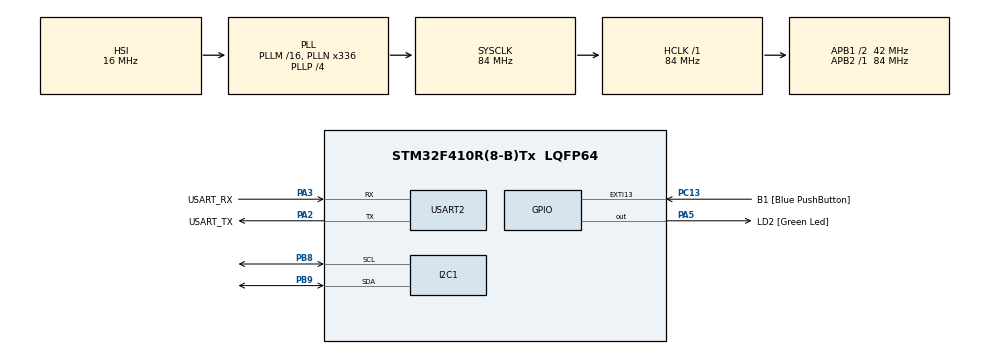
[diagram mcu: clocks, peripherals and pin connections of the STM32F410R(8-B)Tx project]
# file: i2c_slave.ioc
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I2C1.DualAddressMode=I2C_DUALADDRESS_DISABLE
I2C1.OwnAddress=0xA
Mcu.Family=STM32F4
Mcu.Name=STM32F410R(8-B)Tx
Mcu.Package=LQFP64
NVIC.I2C1_ER_IRQn=true\:0\:0\:false\:false\:true\:true\:true\:true
NVIC.I2C1_EV_IRQn=true\:0\:0\:false\:false\:true\:true\:true\:true
NVIC.PriorityGroup=NVIC_PRIORITYGROUP_0
PA13.GPIO_Label=TMS
PA13.Mode=Serial_Wire
PA13.Signal=SYS_JTMS-SWDIO
PA14.GPIO_Label=TCK
PA14.Mode=Serial_Wire
PA14.Signal=SYS_JTCK-SWCLK
PA2.GPIO_Label=USART_TX
PA2.Mode=Asynchronous
PA2.Signal=USART2_TX
PA3.GPIO_Label=USART_RX
PA3.Mode=Asynchronous
PA3.Signal=USART2_RX
PA5.GPIO_Label=LD2 [Green Led]
PA5.Signal=GPIO_Output
PB3.GPIO_Label=SWO
PB3.Signal=SYS_JTDO-SWO
PB8.GPIO_Pu=GPIO_PULLUP
PB8.Mode=I2C
PB8.Signal=I2C1_SCL
PB9.GPIO_Pu=GPIO_PULLUP
PB9.Mode=I2C
PB9.Signal=I2C1_SDA
PC13-ANTI_TAMP.GPIO_Label=B1 [Blue PushButton]
PC13-ANTI_TAMP.GPIO_ModeDefaultEXTI=GPIO_MODE_IT_FALLING
PC13-ANTI_TAMP.Signal=GPXTI13
PC14-OSC32_IN.Mode=LSE-External-Oscillator
PC14-OSC32_IN.Signal=RCC_OSC32_IN
PC15-OSC32_OUT.Mode=LSE-External-Oscillator
PC15-OSC32_OUT.Signal=RCC_OSC32_OUT
PH0\ -\ OSC_IN.Mode=HSE-External-Clock-Source
PH0\ -\ OSC_IN.Signal=RCC_OSC_IN
PH1\ -\ OSC_OUT.Mode=HSE-External-Clock-Source
PH1\ -\ OSC_OUT.Signal=RCC_OSC_OUT
ProjectManager.HeapSize=0x200
ProjectManager.StackSize=0x400
ProjectManager.TargetToolchain=CMake
RCC.48MHZClocksFreq_Value=84000000
RCC.AHBFreq_Value=84000000
RCC.APB1CLKDivider=RCC_HCLK_DIV2
RCC.APB1Freq_Value=42000000
RCC.APB1TimFreq_Value=84000000
RCC.APB2Freq_Value=84000000
RCC.APB2TimFreq_Value=84000000
RCC.CortexFreq_Value=84000000
RCC.FLatency-AdvancedSettings=FLASH_LATENCY_2
RCC.HCLKFreq_Value=84000000
RCC.HSE_VALUE=8000000
RCC.HSI_VALUE=16000000
RCC.PLLN=336
RCC.PLLP=RCC_PLLP_DIV4
RCC.SYSCLKFreq_VALUE=84000000
RCC.SYSCLKSource=RCC_SYSCLKSOURCE_PLLCLK
RCC.VCOOutputFreq_Value=336000000
USART2.VirtualMode=VM_ASYNC
board=NUCLEO-F410RB

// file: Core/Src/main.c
/* USER CODE BEGIN Header */
/**
  ******************************************************************************
  * @file           : main.c
  * @brief          : Main program body
  ******************************************************************************
  * @attention
  *
  * Copyright (c) 2024 STMicroelectronics.
  * All rights reserved.
  *
  * This software is licensed under terms that can be found in the LICENSE file
  * in the root directory of this software component.
  * If no LICENSE file comes with this software, it is provided AS-IS.
  *
  ******************************************************************************
  */
/* USER CODE END Header */
#include "main.h"

/* USER CODE BEGIN Includes */
#include <stdio.h>
#include <stdint.h>
#include <stdbool.h>
#include "i2c_slave.h"
/* USER CODE END Includes */

I2C_HandleTypeDef hi2c1;

UART_HandleTypeDef huart2;

/* USER CODE BEGIN PV */
uint8_t i2c_slave_buf; // DATA to receive
/* USER CODE END PV */

void SystemClock_Config(void);
static void MX_GPIO_Init(void);
static void MX_I2C1_Init(void);
static void MX_USART2_UART_Init(void);

/* USER CODE BEGIN 0 */
int _write (int fd __unused, char *ptr, int len)
{
	int i=0;
	for(;i<len;i++)
	{
    HAL_UART_Transmit(&huart2, (uint8_t*)&ptr[i], 1, HAL_MAX_DELAY);
		if(ptr[i] == '\n')
		{
      HAL_UART_Transmit(&huart2, (uint8_t*)"\r", 1, HAL_MAX_DELAY);
		}
	}
	return i;
}
/* USER CODE END 0 */

int main(void)
{

  /* MCU Configuration--------------------------------------------------------*/

  /* Reset of all peripherals, Initializes the Flash interface and the Systick. */
  HAL_Init();

  /* Configure the system clock */
  SystemClock_Config();

  /* Initialize all configured peripherals */
  MX_GPIO_Init();
  MX_I2C1_Init();
  MX_USART2_UART_Init();
  /* USER CODE BEGIN 2 */
  printf("this is i2c slave\n\r");
  if(HAL_OK != HAL_I2C_EnableListen_IT(&hi2c1))
  {
    printf("HAL_I2C_EnableListen_IT error\n\r");
    Error_Handler();
  }
  /* USER CODE END 2 */

  /* Infinite loop */
  while (1)
  {

  }
}

void SystemClock_Config(void)
{
  RCC_OscInitTypeDef RCC_OscInitStruct = {0};
  RCC_ClkInitTypeDef RCC_ClkInitStruct = {0};

  /** Configure the main internal regulator output voltage
  */
  __HAL_RCC_PWR_CLK_ENABLE();
  __HAL_PWR_VOLTAGESCALING_CONFIG(PWR_REGULATOR_VOLTAGE_SCALE1);

  /** Initializes the RCC Oscillators according to the specified parameters
  * in the RCC_OscInitTypeDef structure.
  */
  RCC_OscInitStruct.OscillatorType = RCC_OSCILLATORTYPE_HSI;
  RCC_OscInitStruct.HSIState = RCC_HSI_ON;
  RCC_OscInitStruct.HSICalibrationValue = RCC_HSICALIBRATION_DEFAULT;
  RCC_OscInitStruct.PLL.PLLState = RCC_PLL_ON;
  RCC_OscInitStruct.PLL.PLLSource = RCC_PLLSOURCE_HSI;
  RCC_OscInitStruct.PLL.PLLM = 16;
  RCC_OscInitStruct.PLL.PLLN = 336;
  RCC_OscInitStruct.PLL.PLLP = RCC_PLLP_DIV4;
  RCC_OscInitStruct.PLL.PLLQ = 4;
  RCC_OscInitStruct.PLL.PLLR = 2;
  if (HAL_RCC_OscConfig(&RCC_OscInitStruct) != HAL_OK)
  {
    Error_Handler();
  }

  /** Initializes the CPU, AHB and APB buses clocks
  */
  RCC_ClkInitStruct.ClockType = RCC_CLOCKTYPE_HCLK|RCC_CLOCKTYPE_SYSCLK
                              |RCC_CLOCKTYPE_PCLK1|RCC_CLOCKTYPE_PCLK2;
  RCC_ClkInitStruct.SYSCLKSource = RCC_SYSCLKSOURCE_PLLCLK;
  RCC_ClkInitStruct.AHBCLKDivider = RCC_SYSCLK_DIV1;
  RCC_ClkInitStruct.APB1CLKDivider = RCC_HCLK_DIV2;
  RCC_ClkInitStruct.APB2CLKDivider = RCC_HCLK_DIV1;

  if (HAL_RCC_ClockConfig(&RCC_ClkInitStruct, FLASH_LATENCY_2) != HAL_OK)
  {
    Error_Handler();
  }
}

static void MX_I2C1_Init(void)
{

  hi2c1.Instance = I2C1;
  hi2c1.Init.ClockSpeed = 100000;
  hi2c1.Init.DutyCycle = I2C_DUTYCYCLE_2;
  hi2c1.Init.OwnAddress1 = 20;
  hi2c1.Init.AddressingMode = I2C_ADDRESSINGMODE_7BIT;
  hi2c1.Init.DualAddressMode = I2C_DUALADDRESS_DISABLE;
  hi2c1.Init.OwnAddress2 = 0;
  hi2c1.Init.GeneralCallMode = I2C_GENERALCALL_DISABLE;
  hi2c1.Init.NoStretchMode = I2C_NOSTRETCH_DISABLE;
  if (HAL_I2C_Init(&hi2c1) != HAL_OK)
  {
    Error_Handler();
  }

}

static void MX_USART2_UART_Init(void)
{

  huart2.Instance = USART2;
  huart2.Init.BaudRate = 115200;
  huart2.Init.WordLength = UART_WORDLENGTH_8B;
  huart2.Init.StopBits = UART_STOPBITS_1;
  huart2.Init.Parity = UART_PARITY_NONE;
  huart2.Init.Mode = UART_MODE_TX_RX;
  huart2.Init.HwFlowCtl = UART_HWCONTROL_NONE;
  huart2.Init.OverSampling = UART_OVERSAMPLING_16;
  if (HAL_UART_Init(&huart2) != HAL_OK)
  {
    Error_Handler();
  }

}

static void MX_GPIO_Init(void)
{
  GPIO_InitTypeDef GPIO_InitStruct = {0};

  /* GPIO Ports Clock Enable */
  __HAL_RCC_GPIOC_CLK_ENABLE();
  __HAL_RCC_GPIOH_CLK_ENABLE();
  __HAL_RCC_GPIOA_CLK_ENABLE();
  __HAL_RCC_GPIOB_CLK_ENABLE();

  /*Configure GPIO pin Output Level */
  HAL_GPIO_WritePin(LD2_GPIO_Port, LD2_Pin, GPIO_PIN_RESET);

  /*Configure GPIO pin : B1_Pin */
  GPIO_InitStruct.Pin = B1_Pin;
  GPIO_InitStruct.Mode = GPIO_MODE_IT_FALLING;
  GPIO_InitStruct.Pull = GPIO_NOPULL;
  HAL_GPIO_Init(B1_GPIO_Port, &GPIO_InitStruct);

  /*Configure GPIO pin : LD2_Pin */
  GPIO_InitStruct.Pin = LD2_Pin;
  GPIO_InitStruct.Mode = GPIO_MODE_OUTPUT_PP;
  GPIO_InitStruct.Pull = GPIO_NOPULL;
  GPIO_InitStruct.Speed = GPIO_SPEED_FREQ_LOW;
  HAL_GPIO_Init(LD2_GPIO_Port, &GPIO_InitStruct);

}

void Error_Handler(void)
{
  __disable_irq();
  while (1)
  {
  }
}
